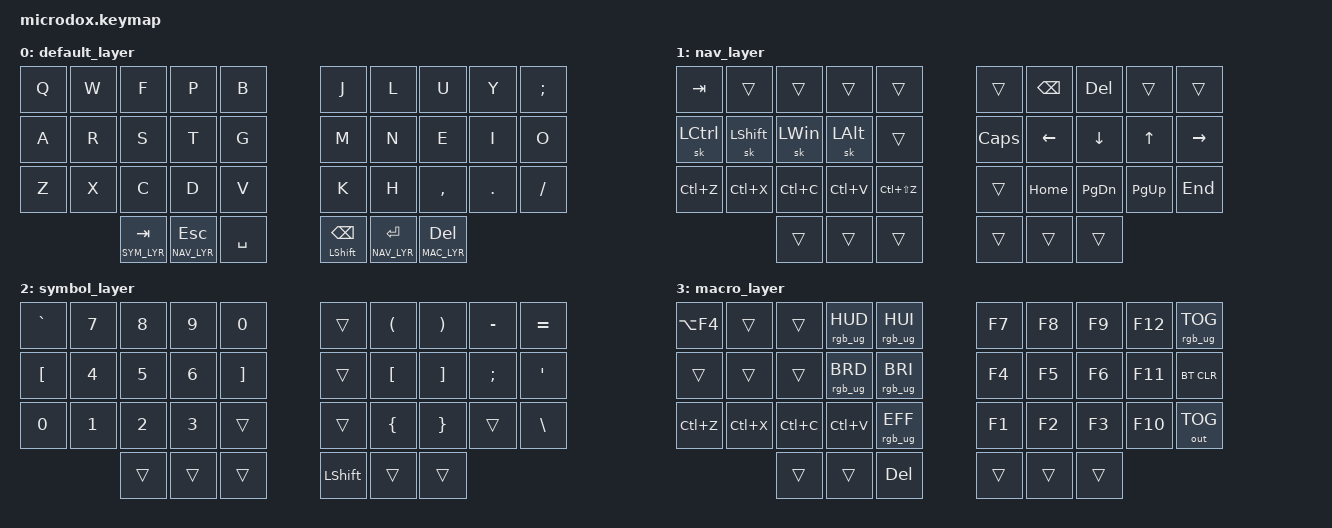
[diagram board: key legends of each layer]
/*
 * Copyright (c) 2020 The ZMK Contributors
 *
 * SPDX-License-Identifier: MIT
 */

#include <behaviors.dtsi>
#include <dt-bindings/zmk/keys.h>
#include <dt-bindings/zmk/bt.h>
#include <dt-bindings/zmk/outputs.h>
#include <dt-bindings/zmk/rgb.h>

// layer mappings:
#define NAV_LYR 1
#define SYM_LYR 2
#define MAC_LYR 3

/ {

        conditional_layers {
                compatible = "zmk,conditional-layers";
                tri_layer {
                        if-layers = <1 2>;
                        then-layer = <3>;
                };
        };

        keymap {
                compatible = "zmk,keymap";

                default_layer {
                // -----------------------------------------------------------------------------------------
                // |  Q  |  W  |  F  |  P  |  B  |   |  J  |  L  |  U  |  Y  |  ;  |
                // |  A  |  R  |  S  |  T  |  G  |   |  M  |  N  |  E  |  I  |  O  |
                // |  Z  |  X  |  C  |  D  |  V  |   |  K  |  H  |  ,  |  .  |  /  |
                //             | TAB | ESC | SPC |   |BSPC | ENT | DEL |
                //             |CTRL | SYM | SPC |   |SHFT | NAV | MAC |
                                        bindings = <
                &kp Q &kp W &kp F &kp P &kp B   &kp J &kp L  &kp U     &kp Y   &kp SEMI
                &kp A &kp R &kp S &kp T &kp G   &kp M &kp N  &kp E     &kp I   &kp O
                &kp Z &kp X &kp C &kp D &kp V   &kp K &kp H  &kp COMMA &kp DOT &kp FSLH
                        &lt SYM_LYR TAB &lt NAV_LYR ESC &kp SPACE         &mt LSHFT BSPC &lt NAV_LYR RETURN &lt MAC_LYR DEL
                        >;
                };


                nav_layer {
                // -----------------------------------------------------------------------------------------
                // | TAB |     |     |     |     |   |     |BSPC | DEL |     |     |
                // |CTRL |SHFT | WIN | ALT |     |   |CAPS | LFT | DWN | UP  | RGT |
                // |UNDO | CUT | CPY |PSTE |REDO |   | INS |HOME |PGDN |PGUP | END |
                //                   |     |     |     |   |     |     |     |
                bindings = <
                &kp TAB &trans &trans &trans &trans                             &trans &kp BSPC &kp DEL &trans &trans
                &sk LCTRL &sk LSHFT &sk LWIN &sk LALT &trans                    &kp CAPS &kp LEFT &kp DOWN &kp UP &kp RIGHT
                &kp LC(Z) &kp LC(X) &kp LC(C) &kp LC(V) &kp LC(LS(Z))           &trans &kp HOME &kp PG_DN &kp PG_UP &kp END
                        &trans &trans &trans            &trans &trans &trans
                        >;
                };


                symbol_layer {
                // -----------------------------------------------------------------------------------------
                // | `~  | 7&  | 8*  | 9(  | 0)  |   |     |  (  |  )  |  -  | =+  |
                // | [{  | 4$  | 5%  | 6^  | ]}  |   |     |  [  |  ]  | ;:  | '"  |
                // | 0)  | 1!  | 2#  | 3#  |     |   |     |  {  |  }  |     | \|  |
                //                   |     |     |     |   |SHFT |     |     |
                bindings = <
                &kp GRAVE &kp NUMBER_7 &kp NUMBER_8 &kp NUMBER_9 &kp NUMBER_0          &trans &kp LPAR &kp RPAR &kp MINUS &kp EQUAL
                &kp LBKT &kp NUMBER_4 &kp NUMBER_5 &kp NUMBER_6 &kp RBKT               &trans &kp LBKT &kp RBKT &kp SEMI &kp APOS
                &kp NUMBER_0 &kp NUMBER_1 &kp NUMBER_2 &kp NUMBER_3 &trans             &trans &kp LBRC &kp RBRC &trans &kp BSLH
                        &trans &trans &trans                 &kp LSHFT &trans &trans
                        >;
                };


                macro_layer {
                // -----------------------------------------------------------------------------------------
                // | AF4 |     |     |RGBHD|RGBHI|   | F7  | F8  | F9  | F12 |RGBTG|
                // |     |     |     |RGBBD|RGBBI|   | F4  | F5  | F6  | F11 |BTCLR|
                // |     | CUT | CPY |PSTE |PSTE |   | F1  | F2  | F3  | F10 |OUTTG|
                //                   |     | DEL |     |   |     |     |     |
                bindings = <
                &kp LA(F4) &trans &trans &rgb_ug RGB_HUD &rgb_ug RGB_HUI                 &kp F7 &kp F8 &kp F9 &kp F12 &rgb_ug RGB_TOG
                &trans &trans &trans &rgb_ug RGB_BRD &rgb_ug RGB_BRI                     &kp F4 &kp F5 &kp F6 &kp F11 &bt BT_CLR
                &kp LC(Z) &kp LC(X) &kp LC(C) &kp LC(V) &rgb_ug RGB_EFF                  &kp F1 &kp F2 &kp F3 &kp F10 &out OUT_TOG
                        &trans &trans &kp DEL                                    &trans &trans &trans
                        >;
                };


        };
};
